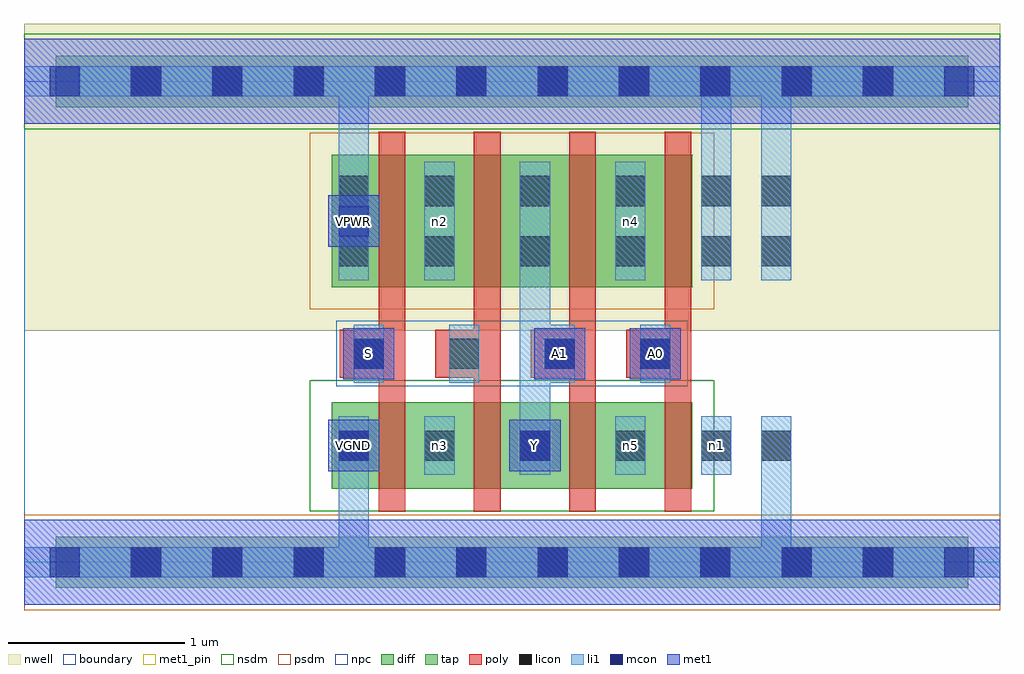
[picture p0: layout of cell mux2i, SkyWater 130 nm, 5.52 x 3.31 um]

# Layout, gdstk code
import gdstk
lib = gdstk.Library(unit=1e-6, precision=1e-09)
def R(c, l, rs):  # rectangles x0, y0, x1, y1
    for r in rs: c.add(gdstk.rectangle(r[:2], r[2:], *l))
def A(c, l, x, y, w, h, nx, ny, dx, dy):  # array of equal rectangles
    R(c, l, [(x+i*dx, y+j*dy, x+i*dx+w, y+j*dy+h) for i in range(nx) for j in range(ny)])
nwell = (64, 20)
diff = (65, 20)
tap = (65, 44)
poly = (66, 20)
licon = (66, 44)
li1 = (67, 20)
mcon = (67, 44)
met1_pin = (68, 16)
met1 = (68, 20)
nsdm = (93, 44)
psdm = (94, 20)
npc = (95, 20)
boundary = (235, 4)

mux2i = lib.new_cell('mux2i')
R(mux2i, nwell, [(0,1.31,5.52,3.045)])
R(mux2i, diff, [(1.74,0.415,3.78,0.905), (1.74,1.555,3.78,2.305)])
R(mux2i, tap, [(0.18,-0.145,5.34,0.145), (0.18,2.575,5.34,2.865)])
A(mux2i, poly, 2.005, 0.285, 0.15, 2.15, 4, 1, 0.54, 0)
A(mux2i, poly, 1.785, 1.045, 0.33, 0.27, 4, 1, 0.54, 0)
A(mux2i, licon, 0.605, -0.085, 0.17, 0.17, 10, 2, 0.46, 2.72)
A(mux2i, licon, 2.265, 0.575, 0.17, 0.17, 3, 2, 0.54, 1.1)
A(mux2i, licon, 1.865, 1.095, 0.17, 0.17, 4, 1, 0.54, 0)
A(mux2i, licon, 2.265, 2.015, 0.17, 0.17, 3, 1, 0.54, 0)
R(mux2i, licon, [(1.78,0.575,1.95,0.745), (3.83,0.575,4,0.745), (4.17,0.575,4.34,0.745), (1.78,1.675,1.95,1.845), (3.83,1.675,4,1.845), (4.17,1.675,4.34,1.845), (1.78,2.015,1.95,2.185), (3.83,2.015,4,2.185), (4.17,2.015,4.34,2.185)])
A(mux2i, li1, 2.265, 0.495, 0.17, 0.33, 3, 1, 0.54, 0)
A(mux2i, li1, 1.865, 1.015, 0.17, 0.33, 4, 1, 0.54, 0)
A(mux2i, li1, 2.265, 1.595, 0.17, 0.67, 3, 1, 0.54, 0)
R(mux2i, li1, [(0,-0.085,5.52,0.085), (1.78,-0.085,1.95,0.825), (4.17,-0.085,4.34,0.825), (1.78,0.495,1.95,0.825), (2.805,0.495,2.975,2.265), (3.83,0.495,4,0.825), (4.17,0.495,4.34,0.825), (1.78,1.595,1.95,2.265), (1.78,1.595,1.95,2.805), (3.83,1.595,4,2.265), (3.83,1.595,4,2.805), (4.17,1.595,4.34,2.265), (4.17,1.595,4.34,2.805), (0,2.635,5.52,2.805)])
A(mux2i, mcon, 0.145, -0.085, 0.17, 0.17, 12, 2, 0.46, 2.72)
R(mux2i, mcon, [(1.78,0.575,1.95,0.745), (2.805,0.575,2.975,0.745), (1.865,1.095,2.035,1.265), (2.945,1.095,3.115,1.265), (3.485,1.095,3.655,1.265), (1.78,1.845,1.95,2.015)])
R(mux2i, met1_pin, [(1.72,0.515,2.01,0.805), (2.745,0.515,3.035,0.805), (1.805,1.035,2.095,1.325), (2.885,1.035,3.175,1.325), (3.425,1.035,3.715,1.325), (1.72,1.785,2.01,2.075)])
R(mux2i, met1, [(0,-0.24,5.52,0.24), (1.72,0.515,2.01,0.805), (2.745,0.515,3.035,0.805), (1.805,1.035,2.095,1.325), (2.885,1.035,3.175,1.325), (3.425,1.035,3.715,1.325), (1.72,1.785,2.01,2.075), (0,2.48,5.52,2.96)])
R(mux2i, nsdm, [(1.615,0.29,3.905,1.03), (0,2.45,5.52,2.99)])
R(mux2i, psdm, [(0,-0.27,5.52,0.27), (1.615,1.43,3.905,2.43)])
R(mux2i, npc, [(1.765,0.995,3.755,1.365)])
R(mux2i, boundary, [(0,0,5.52,2.72)])
mux2i.add(gdstk.Label('n3', (2.35,0.66), layer=67, texttype=5))
mux2i.add(gdstk.Label('n5', (3.43,0.66), layer=67, texttype=5))
mux2i.add(gdstk.Label('n1', (3.915,0.66), layer=67, texttype=5))
mux2i.add(gdstk.Label('n2', (2.35,1.93), layer=67, texttype=5))
mux2i.add(gdstk.Label('n4', (3.43,1.93), layer=67, texttype=5))
mux2i.add(gdstk.Label('VGND', (1.865,0.66), layer=68, texttype=5))
mux2i.add(gdstk.Label('VPWR', (1.865,1.93), layer=68, texttype=5))
mux2i.add(gdstk.Label('S', (1.95,1.18), layer=68, texttype=5))
mux2i.add(gdstk.Label('A0', (3.57,1.18), layer=68, texttype=5))
mux2i.add(gdstk.Label('A1', (3.03,1.18), layer=68, texttype=5))
mux2i.add(gdstk.Label('Y', (2.89,0.66), layer=68, texttype=5))
mux2i.add(gdstk.Label('VGND', (1.865,0.66), layer=68, texttype=16))
mux2i.add(gdstk.Label('VPWR', (1.865,1.93), layer=68, texttype=16))
mux2i.add(gdstk.Label('S', (1.95,1.18), layer=68, texttype=16))
mux2i.add(gdstk.Label('A0', (3.57,1.18), layer=68, texttype=16))
mux2i.add(gdstk.Label('A1', (3.03,1.18), layer=68, texttype=16))
mux2i.add(gdstk.Label('Y', (2.89,0.66), layer=68, texttype=16))

lib.write_gds('mux2i.gds')
